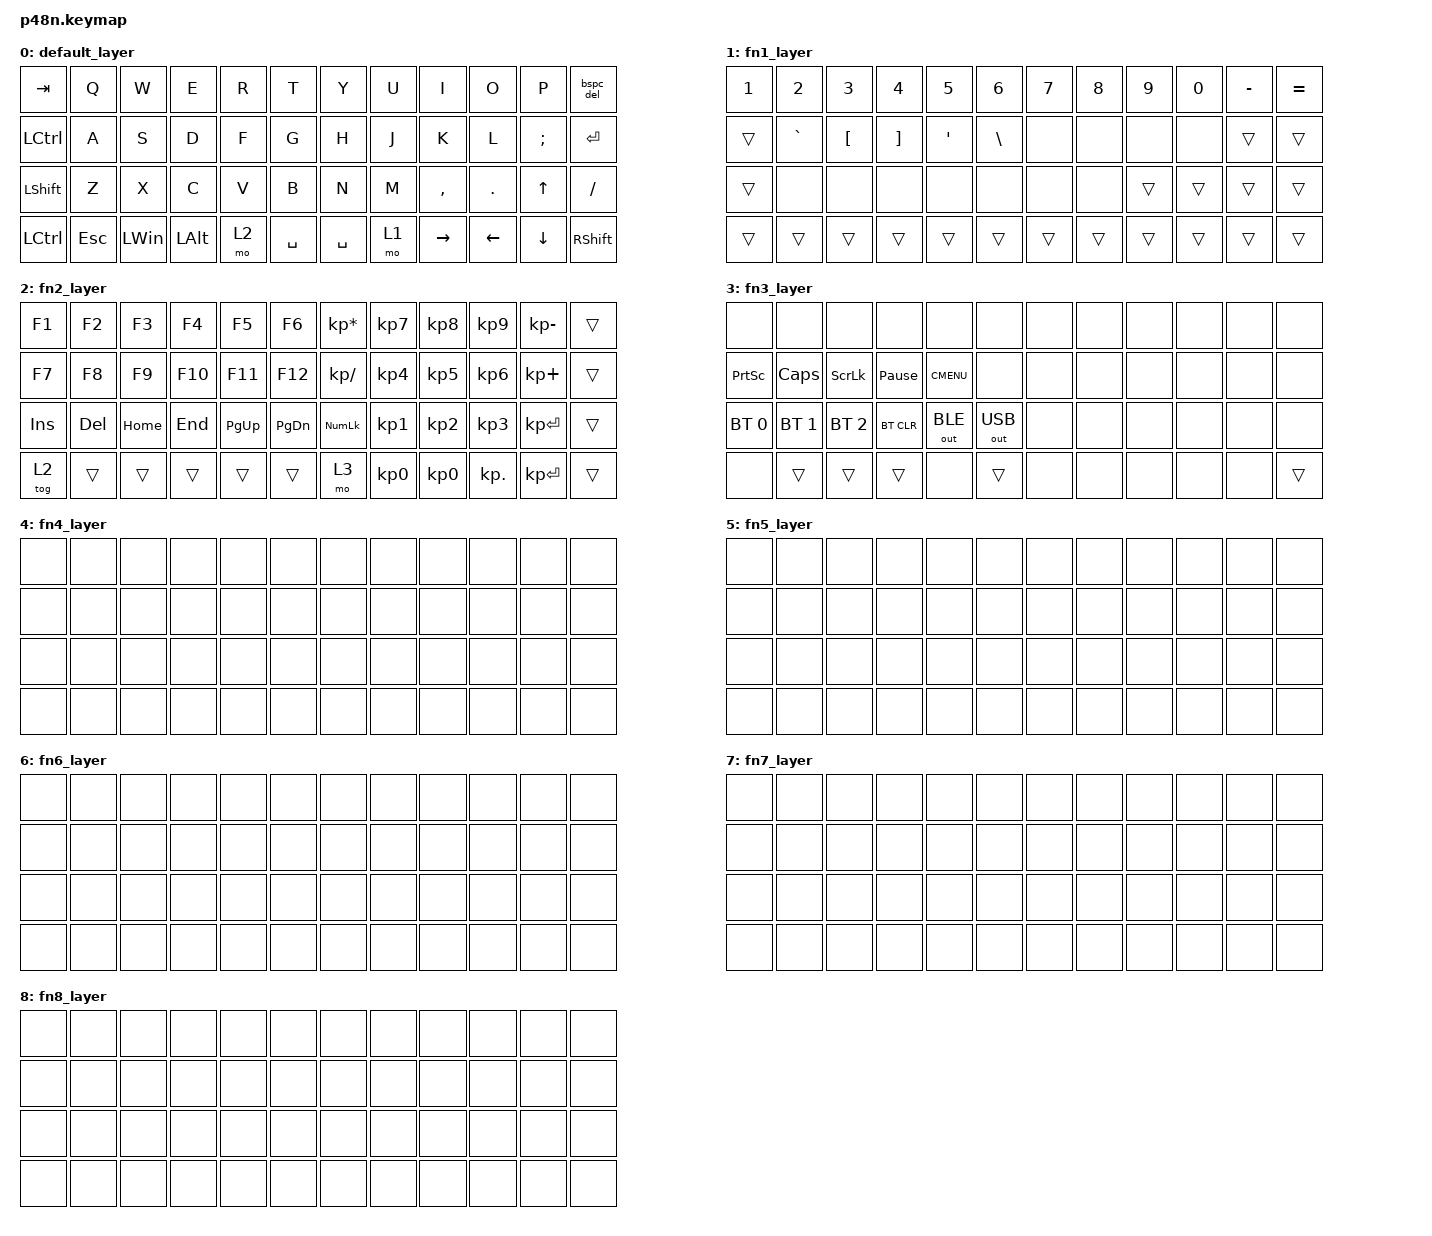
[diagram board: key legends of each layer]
/*
 * Copyright (c) 2020 The ZMK Contributors
 *
 * SPDX-License-Identifier: MIT
 */

#include <behaviors.dtsi>
#include <dt-bindings/zmk/keys.h>
#include <dt-bindings/zmk/rgb.h>
#include <dt-bindings/zmk/bt.h>
#include <dt-bindings/zmk/outputs.h>
#include <dt-bindings/zmk/ext_power.h>
#include <dt-bindings/zmk/mouse.h>

/ {
    behaviors {
        bspc_del: backspace_delete {
            compatible = "zmk,behavior-mod-morph";
            #binding-cells = <0>;

            bindings = <&kp BSPC>, <&kp DEL>;
            mods = <(MOD_LSFT|MOD_RSFT)>;
            keep-mods = <(MOD_LSFT|MOD_RSFT)>;
        };
    };
    combos {
        compatible = "zmk,combos";

        /*
         * 仅在 Layer 3 生效。
         * 位置 0 和 11 是第一行左右两端。
         */
        combo_bootloader {
            timeout-ms = <150>;
            key-positions = <0 11>;
            bindings = <&bootloader>;
            layers = <3>;
        };
    };

    keymap0: keymap {
        compatible = "zmk,keymap";

        /*
         * Layer 0：默认层
         *
         * MO2 由左手拇指操作，用于 F 键、导航和小键盘。
         * MO1 由右手拇指操作，用于完整数字行和符号。
         */
        default_layer {
            bindings = <
            &kp TAB      &kp Q        &kp W        &kp E        &kp R        &kp T       &kp Y            &kp U        &kp I        &kp O        &kp P         &bspc_del
            &kp LCTRL    &kp A        &kp S        &kp D        &kp F        &kp G       &kp H            &kp J        &kp K        &kp L        &kp SEMI      &kp ENTER
            &kp LSHFT    &kp Z        &kp X        &kp C        &kp V        &kp B       &kp N            &kp M        &kp COMMA    &kp DOT      &kp UP        &kp SLASH
            &kp LCTRL    &kp ESC      &kp LWIN     &kp LALT     &mo 2        &kp SPACE   &kp SPACE        &mo 1        &kp RIGHT    &kp LEFT     &kp DOWN      &kp RSHFT
            >;
        };

        /*
         * Layer 1：数字与符号
         *
         * 数字行保持完整，不折行。
         *
         * GRAVE：` / ~
         * LBKT：[ / {
         * RBKT：] / }
         * BSLH：\ / |
         * SQT： ' / "
         *
         * 上方字符均通过 Shift 输入。
         */
        fn1_layer {
            bindings = <
            &kp N1       &kp N2       &kp N3       &kp N4       &kp N5       &kp N6      &kp N7           &kp N8       &kp N9       &kp N0       &kp MINUS     &kp EQUAL
            &trans       &kp GRAVE    &kp LBKT     &kp RBKT     &kp SQT      &kp BSLH    &none            &none        &none        &none        &trans        &trans
            &trans       &none        &none        &none        &none        &none       &none            &none        &trans       &trans       &trans        &trans
            &trans       &trans       &trans       &trans       &trans       &trans      &trans           &trans       &trans       &trans       &trans        &trans
            >;
        };

        /*
         * Layer 2：F 键、导航与小键盘
         *
         * 小键盘主体：
         *
         *   *      7  8  9   -
         *   /      4  5  6   +
         * NumLock  1  2  3  Enter
         *  MO3     0  0  .  Enter
         *
         * LOCK2 使用 &tog 2，适合连续数字录入。
         * MO3 临时进入设备维护层。
         */
        fn2_layer {
            bindings = <
            &kp F1       &kp F2       &kp F3       &kp F4       &kp F5       &kp F6      &kp KP_MULTIPLY  &kp KP_N7    &kp KP_N8    &kp KP_N9    &kp KP_MINUS  &trans
            &kp F7       &kp F8       &kp F9       &kp F10      &kp F11      &kp F12     &kp KP_SLASH     &kp KP_N4    &kp KP_N5    &kp KP_N6    &kp KP_PLUS   &trans
            &kp INS      &kp DEL     &kp HOME    &kp END      &kp PG_UP      &kp PG_DN   &kp KP_NUMLOCK   &kp KP_N1    &kp KP_N2    &kp KP_N3    &kp KP_ENTER  &trans
            &tog 2       &trans       &trans       &trans       &trans       &trans      &mo 3            &kp KP_N0    &kp KP_N0    &kp KP_DOT   &kp KP_ENTER  &trans
            >;
        };

        /*
         * Layer 3：设备与维护
         *
         * 第一行全部为空。
         * 左右上角同时按下，由 combo_bootloader 进入 Bootloader。
         *
         * 第二行：系统低频键。
         * 第三行：蓝牙配置和输出选择。
         *
         * 底行保留 Ctrl、Win、Alt、Space 和右 Shift 穿透，
         * 以支持 Alt+PrintScreen、Win+PrintScreen 等组合。
         */
        fn3_layer {
            bindings = <
            &none        &none        &none          &none            &none        &none        &none          &none        &none        &none        &none        &none
            &kp PSCRN    &kp CAPS     &kp SCROLLLOCK &kp PAUSE_BREAK  &kp K_CMENU  &none        &none          &none        &none        &none        &none        &none
            &bt BT_SEL 0 &bt BT_SEL 1 &bt BT_SEL 2   &bt BT_CLR       &out OUT_BLE &out OUT_USB &none          &none        &none        &none        &none        &none
            &none        &trans       &trans         &trans           &none        &trans       &none          &none        &none        &none        &none        &trans
            >;
        };

		fn4_layer {
            bindings = <
            &none   &none   &none   &none  &none   &none   &none   &none  &none   &none   &none   &none
            &none   &none   &none   &none  &none   &none   &none   &none  &none   &none   &none   &none
            &none   &none   &none   &none  &none   &none   &none   &none  &none   &none   &none   &none
            &none   &none   &none   &none  &none   &none   &none   &none  &none   &none   &none   &none
            >;
		};

		fn5_layer {
            bindings = <
            &none   &none   &none   &none  &none   &none   &none   &none  &none   &none   &none   &none
            &none   &none   &none   &none  &none   &none   &none   &none  &none   &none   &none   &none
            &none   &none   &none   &none  &none   &none   &none   &none  &none   &none   &none   &none
            &none   &none   &none   &none  &none   &none   &none   &none  &none   &none   &none   &none
            >;
		};

		fn6_layer {
            bindings = <
            &none   &none   &none   &none  &none   &none   &none   &none  &none   &none   &none   &none
            &none   &none   &none   &none  &none   &none   &none   &none  &none   &none   &none   &none
            &none   &none   &none   &none  &none   &none   &none   &none  &none   &none   &none   &none
            &none   &none   &none   &none  &none   &none   &none   &none  &none   &none   &none   &none
            >;
		};

		fn7_layer {
            bindings = <
            &none   &none   &none   &none  &none   &none   &none   &none  &none   &none   &none   &none
            &none   &none   &none   &none  &none   &none   &none   &none  &none   &none   &none   &none
            &none   &none   &none   &none  &none   &none   &none   &none  &none   &none   &none   &none
            &none   &none   &none   &none  &none   &none   &none   &none  &none   &none   &none   &none
            >;
		};

		fn8_layer {
            bindings = <
            &none   &none   &none   &none  &none   &none   &none   &none  &none   &none   &none   &none
            &none   &none   &none   &none  &none   &none   &none   &none  &none   &none   &none   &none
            &none   &none   &none   &none  &none   &none   &none   &none  &none   &none   &none   &none
            &none   &none   &none   &none  &none   &none   &none   &none  &none   &none   &none   &none
            >;
		};
	};
};
